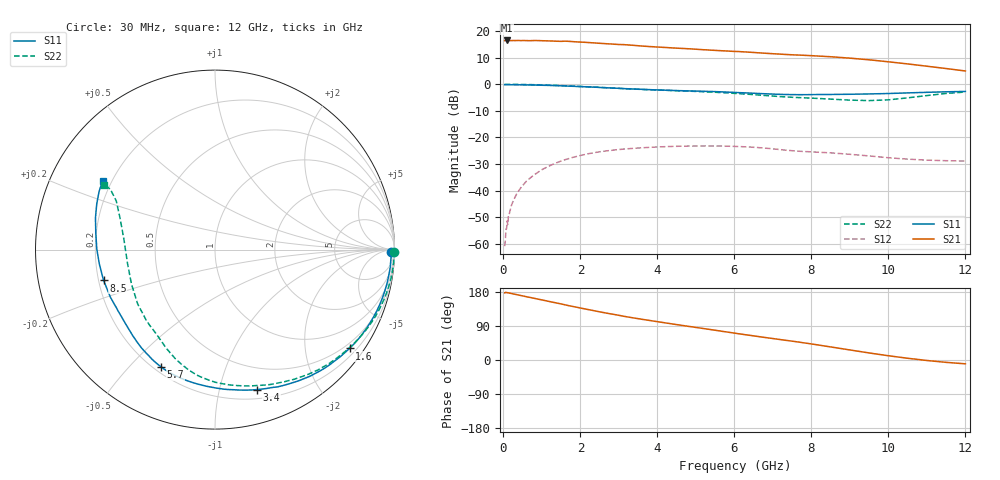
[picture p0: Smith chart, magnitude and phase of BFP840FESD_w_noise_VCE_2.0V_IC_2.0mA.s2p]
! Infineon Technologies  Discrete & RF Semiconductors
! BFP840FESD
! VCE =  2.0 V,  IC =  2.0 mA
! Common Emitter S-Parameters:  May 2012
# GHz  S  MA  R  50
!  f  S11  S21  S12  S22
! GHz  MAG  ANG  MAG  ANG  MAG  ANG  MAG  ANG
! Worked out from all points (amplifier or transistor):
!   103 points, 30 MHz to 12 GHz, reference 50 ohm
!   highest |S21| = 16.5 dB at 100 MHz (marker M1)
!   |S21| within 3 dB of that: start of sweep to 4.643 GHz
!   unconditionally stable (mu >= 1): 8.356 GHz to end of sweep
!   at 400 MHz: K = 0.03, MSG = 28.2 dB, |S12| = -40.0 dB
!   at 3.7 GHz: K = 0.21, MSG = 19.1 dB, |S12| = -23.8 dB
!   at 12 GHz: K = 1.53, MAG = 12.7 dB, |S12| = -28.9 dB
!   lowest NFmin = 0.53 dB at 450 MHz
!   S11 on the Smith chart (normalised r, x): 30 MHz: 76, -53; 1.6 GHz: 0.37, -3.01; 3.4 GHz: 0.28, -1.31; 5.7 GHz: 0.23, -0.62; 8.5 GHz: 0.22, -0.13; 12 GHz: 0.17, +0.27
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0.03  0.9824 -0.7  6.636 177.2  0.0009 73.0  0.9986 -0.7
0.04  0.9821 -1.0  6.625 177.1  0.001 79.5  0.9986 -0.9
0.05  0.9811 -1.2  6.64 178.5  0.0012 76.9  0.9994 -1.0
0.1  0.9817 -2.3  6.683 177.7  0.0027 77.4  0.9979 -2.0
0.11  0.982 -2.5  6.682 177.5  0.0023 86.9  0.9984 -2.2
0.13  0.9819 -3.0  6.676 177.1  0.0035 81.9  0.9982 -2.6
0.3  0.98 -6.9  6.653 173.4  0.0075 83.6  0.9961 -6.1
0.6  0.9739 -13.6  6.641 166.9  0.0151 79.1  0.9892 -12.1
0.9  0.9645 -20.5  6.65 160.6  0.0222 73.8  0.9778 -18.3
1.6  0.9303 -36.3  6.479 145.6  0.0381 60.6  0.9383 -32.8
2.1  0.8998 -47.2  6.179 135.1  0.0475 51.5  0.9035 -43.3
2.8  0.8529 -61.5  5.735 121.5  0.0571 39.5  0.8517 -57.0
3.4  0.8143 -73.2  5.39 110.7  0.0626 30.9  0.8126 -67.6
4.1  0.7795 -86.2  4.98 99.6  0.0667 22.2  0.7752 -78.4
4.9  0.7483 -101.0  4.624 87.5  0.0689 13.2  0.7393 -89.8
5.7  0.719 -114.7  4.269 75.4  0.0688 4.4  0.6955 -100.4
6.1  0.6976 -121.7  4.138 69.4  0.0675 0.3  0.668 -105.9
7.1  0.65 -138.9  3.725 55.2  0.06 -8.3  0.5935 -119.9
8.5  0.6441 -164.5  3.3 34.5  0.0513 -10.5  0.5265 -144.9
9.5  0.6586 179.7  2.889 18.6  0.0449 -11.0  0.4936 -171.6
10.5  0.6892 165.1  2.419 4.6  0.0391 -5.8  0.556 161.9
12  0.7343 148.6  1.78 -10.1  0.036 8.6  0.7156 149.7
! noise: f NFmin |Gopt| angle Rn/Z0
0.45  0.53  0.68  7  0.31
0.9  0.58  0.66  13  0.29
1.5  0.65  0.62  21  0.26
1.9  0.68  0.58  29  0.26
2.4  0.72  0.56  36  0.26
3.5  0.75  0.53  55  0.24
5.5  0.89  0.4  89  0.18
8  1.18  0.35  149  0.13
10  1.43  0.38  -169  0.11
12  1.63  0.52  -136  0.14
